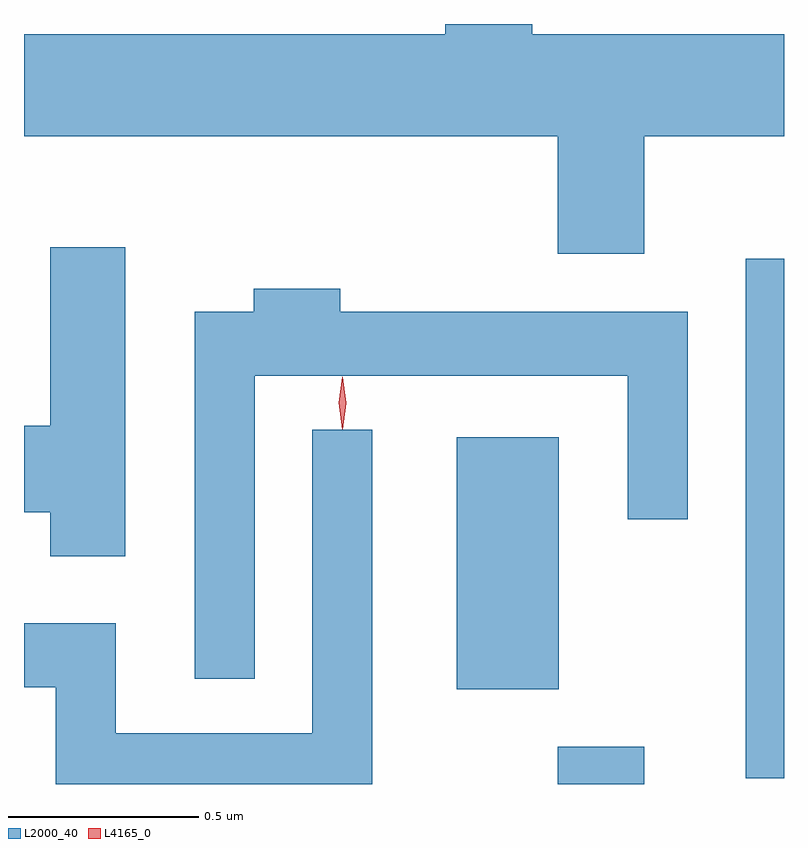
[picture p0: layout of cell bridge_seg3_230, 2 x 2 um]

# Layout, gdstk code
import gdstk
lib = gdstk.Library(unit=1e-6, precision=1e-09)
def R(c, l, rs):  # rectangles x0, y0, x1, y1
    for r in rs: c.add(gdstk.rectangle(r[:2], r[2:], *l))
def P(c, l, *ps):  # polygons
    for p in ps: c.add(gdstk.Polygon(p, *l))
L2000_40 = (2000, 40)
L4165_0 = (4165, 0)

bridge_seg3_230 = lib.new_cell('bridge_seg3_230')
R(bridge_seg3_230, L2000_40, [(921.481,1173.151,921.709,1173.249), (921.976,1173.166,922.077,1174.533), (921.216,1173.401,921.484,1174.064)])
P(bridge_seg3_230, L2000_40, [(921.709,1174.856),(922.077,1174.856),(922.077,1175.124),(921.414,1175.124),(921.414,1175.151),(921.186,1175.151),(921.186,1175.124),(920.077,1175.124),(920.077,1174.856),(921.481,1174.856),(921.481,1174.546),(921.709,1174.546)],
  [(920.344,1174.564),(920.146,1174.564),(920.146,1174.094),(920.077,1174.094),(920.077,1173.866),(920.146,1173.866),(920.146,1173.751),(920.344,1173.751)],
  [(920.684,1174.226),(921.666,1174.226),(921.666,1173.848),(921.824,1173.848),(921.824,1174.394),(920.909,1174.394),(920.909,1174.454),(920.681,1174.454),(920.681,1174.394),(920.526,1174.394),(920.526,1173.428),(920.684,1173.428)],
  [(920.994,1174.083),(920.836,1174.083),(920.836,1173.284),(920.319,1173.284),(920.319,1173.574),(920.077,1173.574),(920.077,1173.406),(920.161,1173.406),(920.161,1173.151),(920.994,1173.151)])
P(bridge_seg3_230, L4165_0, [(920.914,1174.084),(920.905,1174.154),(920.915,1174.222),(920.915,1174.223),(920.916,1174.222),(920.925,1174.153),(920.916,1174.084),(920.915,1174.084)],
  [(920.915,1174.087),(920.914,1174.088),(920.905,1174.154),(920.914,1174.22),(920.915,1174.221),(920.916,1174.22),(920.925,1174.154),(920.916,1174.088)])

lib.write_gds('bridge_seg3_230.gds')
